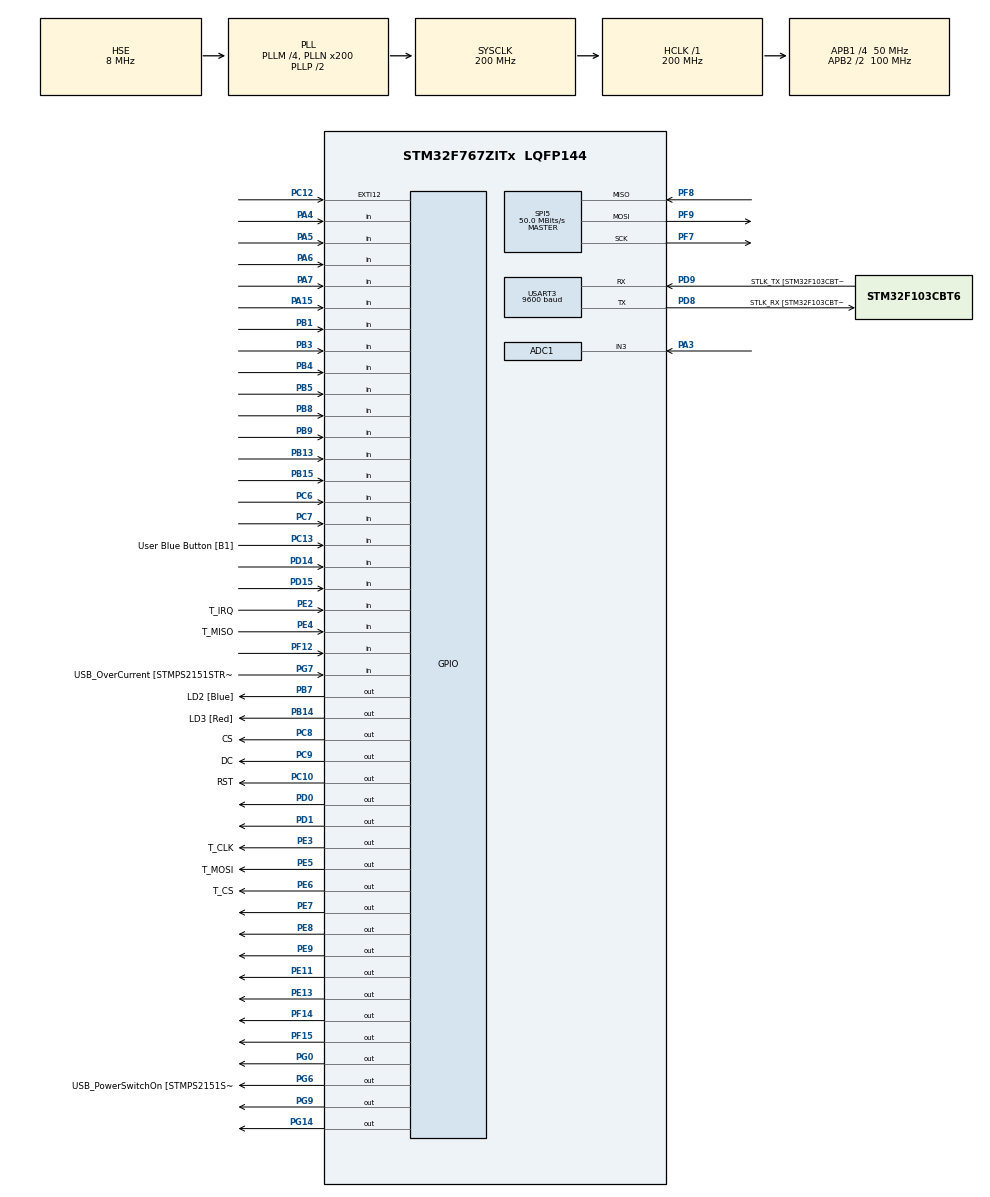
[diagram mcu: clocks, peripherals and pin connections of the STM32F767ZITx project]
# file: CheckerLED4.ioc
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ADC1.Channel-0\#ChannelRegularConversion=ADC_CHANNEL_3
ADC1.NbrOfConversionFlag=1
ADC1.Rank-0\#ChannelRegularConversion=1
ADC1.SamplingTime-0\#ChannelRegularConversion=ADC_SAMPLETIME_3CYCLES
ADC1.master=1
CORTEX_M7.ART_ACCLERATOR_ENABLE=1
CORTEX_M7.CPU_DCache=Enabled
CORTEX_M7.CPU_ICache=Enabled
CORTEX_M7.PREFETCH_ENABLE=1
Mcu.Family=STM32F7
Mcu.Name=STM32F767ZITx
Mcu.Package=LQFP144
NVIC.EXTI15_10_IRQn=true\:3\:0\:true\:false\:true\:true\:true
NVIC.PriorityGroup=NVIC_PRIORITYGROUP_2
NVIC.TIM1_UP_TIM10_IRQn=true\:1\:0\:true\:false\:true\:true\:true
NVIC.TIM3_IRQn=true\:2\:0\:true\:false\:true\:true\:true
PA1.GPIO_Label=RMII_REF_CLK [LAN8742A-CZ-TR_REFCLK0]
PA1.Signal=ETH_REF_CLK
PA13.GPIO_Label=TMS
PA13.Mode=Serial_Wire
PA13.Signal=SYS_JTMS-SWDIO
PA14.GPIO_Label=TCK
PA14.Mode=Serial_Wire
PA14.Signal=SYS_JTCK-SWCLK
PA15.GPIO_PuPd=GPIO_PULLDOWN
PA15.Signal=GPIO_Input
PA2.GPIO_Label=RMII_MDIO [LAN8742A-CZ-TR_MDIO]
PA2.Signal=ETH_MDIO
PA3.Signal=ADCx_IN3
PA4.GPIO_PuPd=GPIO_PULLDOWN
PA4.Signal=GPIO_Input
PA5.GPIO_PuPd=GPIO_PULLDOWN
PA5.Signal=GPIO_Input
PA6.GPIO_PuPd=GPIO_PULLDOWN
PA6.Signal=GPIO_Input
PA7.GPIO_PuPd=GPIO_PULLDOWN
PA7.Signal=GPIO_Input
PB1.GPIO_PuPd=GPIO_PULLDOWN
PB1.Signal=GPIO_Input
PB13.GPIO_PuPd=GPIO_PULLDOWN
PB13.Signal=GPIO_Input
PB14.GPIO_Label=LD3 [Red]
PB14.Signal=GPIO_Output
PB15.GPIO_PuPd=GPIO_PULLDOWN
PB15.Signal=GPIO_Input
PB3.GPIO_PuPd=GPIO_PULLDOWN
PB3.Signal=GPIO_Input
PB4.GPIO_PuPd=GPIO_PULLDOWN
PB4.Signal=GPIO_Input
PB5.GPIO_PuPd=GPIO_PULLDOWN
PB5.Signal=GPIO_Input
PB7.GPIO_Label=LD2 [Blue]
PB7.Signal=GPIO_Output
PB8.GPIO_PuPd=GPIO_PULLDOWN
PB8.Signal=GPIO_Input
PB9.GPIO_PuPd=GPIO_PULLDOWN
PB9.Signal=GPIO_Input
PC1.GPIO_Label=RMII_MDC [LAN8742A-CZ-TR_MDC]
PC1.Signal=ETH_MDC
PC10.GPIO_Label=RST
PC10.GPIO_Speed=GPIO_SPEED_FREQ_VERY_HIGH
PC10.Signal=GPIO_Output
PC12.Signal=GPXTI12
PC13.GPIO_Label=User Blue Button [B1]
PC13.Signal=GPIO_Input
PC14/OSC32_IN.Mode=LSE-External-Oscillator
PC14/OSC32_IN.Signal=RCC_OSC32_IN
PC15/OSC32_OUT.Mode=LSE-External-Oscillator
PC15/OSC32_OUT.Signal=RCC_OSC32_OUT
PC4.GPIO_Label=RMII_RXD0 [LAN8742A-CZ-TR_RXD0]
PC4.Signal=ETH_RXD0
PC5.GPIO_Label=RMII_RXD1 [LAN8742A-CZ-TR_RXD1]
PC5.Signal=ETH_RXD1
PC6.GPIO_PuPd=GPIO_PULLDOWN
PC6.Signal=GPIO_Input
PC7.GPIO_PuPd=GPIO_PULLDOWN
PC7.Signal=GPIO_Input
PC8.GPIO_Label=CS
PC8.GPIO_Speed=GPIO_SPEED_FREQ_VERY_HIGH
PC8.Signal=GPIO_Output
PC9.GPIO_Label=DC
PC9.GPIO_Speed=GPIO_SPEED_FREQ_VERY_HIGH
PC9.Signal=GPIO_Output
PD0.Signal=GPIO_Output
PD1.Signal=GPIO_Output
PD14.GPIO_PuPd=GPIO_PULLDOWN
PD14.Signal=GPIO_Input
PD15.GPIO_PuPd=GPIO_PULLDOWN
PD15.Signal=GPIO_Input
PD8.GPIO_Label=STLK_RX [STM32F103CBT6_PA3]
PD8.Mode=Asynchronous
PD8.Signal=USART3_TX
PD9.GPIO_Label=STLK_TX [STM32F103CBT6_PA2]
PD9.Mode=Asynchronous
PD9.Signal=USART3_RX
PE10.GPIO_Speed=GPIO_SPEED_FREQ_VERY_HIGH
PE10.Signal=TIM1_CH2N
PE11.Signal=GPIO_Output
PE13.Signal=GPIO_Output
PE2.GPIO_Label=T_IRQ
PE2.Signal=GPIO_Input
PE3.GPIO_Label=T_CLK
PE3.GPIO_Speed=GPIO_SPEED_FREQ_VERY_HIGH
PE3.Signal=GPIO_Output
PE4.GPIO_Label=T_MISO
PE4.Signal=GPIO_Input
PE5.GPIO_Label=T_MOSI
PE5.GPIO_Speed=GPIO_SPEED_FREQ_VERY_HIGH
PE5.Signal=GPIO_Output
PE6.GPIO_Label=T_CS
PE6.GPIO_Speed=GPIO_SPEED_FREQ_VERY_HIGH
PE6.Signal=GPIO_Output
PE7.Signal=GPIO_Output
PE8.Signal=GPIO_Output
PE9.Signal=GPIO_Output
PF12.GPIO_PuPd=GPIO_PULLDOWN
PF12.Signal=GPIO_Input
PF14.Signal=GPIO_Output
PF15.Signal=GPIO_Output
PF7.Mode=Full_Duplex_Master
PF7.Signal=SPI5_SCK
PF8.Mode=Full_Duplex_Master
PF8.Signal=SPI5_MISO
PF9.Mode=Full_Duplex_Master
PF9.Signal=SPI5_MOSI
PG0.Signal=GPIO_Output
PG11.GPIO_Label=RMII_TX_EN [LAN8742A-CZ-TR_TXEN]
PG11.Signal=ETH_TX_EN
PG13.GPIO_Label=RMII_TXD0 [LAN8742A-CZ-TR_TXD0]
PG13.Signal=ETH_TXD0
PG14.Signal=GPIO_Output
PG6.GPIO_Label=USB_PowerSwitchOn [STMPS2151STR_EN]
PG6.Signal=GPIO_Output
PG7.GPIO_Label=USB_OverCurrent [STMPS2151STR_FAULT]
PG7.Signal=GPIO_Input
PG9.Signal=GPIO_Output
PH0/OSC_IN.GPIO_Label=MCO [STM32F103CBT6_PA8]
PH0/OSC_IN.Mode=HSE-External-Clock-Source
PH0/OSC_IN.Signal=RCC_OSC_IN
PH1/OSC_OUT.Mode=HSE-External-Clock-Source
PH1/OSC_OUT.Signal=RCC_OSC_OUT
ProjectManager.HeapSize=0x200
ProjectManager.StackSize=0x400
ProjectManager.TargetToolchain=MDK-ARM V5
RCC.48MHZClocksFreq_Value=24000000
RCC.AHBFreq_Value=200000000
RCC.APB1CLKDivider=RCC_HCLK_DIV4
RCC.APB1Freq_Value=50000000
RCC.APB1TimFreq_Value=100000000
RCC.APB2CLKDivider=RCC_HCLK_DIV2
RCC.APB2Freq_Value=100000000
RCC.APB2TimFreq_Value=200000000
RCC.CortexFreq_Value=200000000
RCC.HCLKFreq_Value=200000000
RCC.HSE_VALUE=8000000
RCC.HSI_VALUE=16000000
RCC.PLLM=4
RCC.PLLMUL=RCC_PLL_MUL9
RCC.PLLN=200
RCC.PLLQ=9
RCC.PLLSourceVirtual=RCC_PLLSOURCE_HSE
RCC.PRESCALERUSB=RCC_USBCLKSOURCE_PLL_DIV1_5
RCC.SYSCLKFreq_VALUE=200000000
RCC.SYSCLKSource=RCC_SYSCLKSOURCE_PLLCLK
RCC.SYSCLKSourceVirtual=RCC_SYSCLKSOURCE_PLLCLK
RCC.USBFreq_Value=44444444.44444445
RCC.VCOOutputFreq_Value=400000000
SH.ADCx_IN3.0=ADC1_IN3,IN3
SPI5.CalculateBaudRate=50.0 MBits/s
SPI5.DataSize=SPI_DATASIZE_8BIT
SPI5.Direction=SPI_DIRECTION_2LINES
SPI5.Mode=SPI_MODE_MASTER
SPI5.NSSPMode=SPI_NSS_PULSE_DISABLE
SPI5.VirtualType=VM_MASTER
TIM1.ClockDivision=TIM_CLOCKDIVISION_DIV2
TIM1.Period=1000-1
TIM1.Prescaler=200-1
TIM3.Period=1000-1
TIM3.Prescaler=100-1
USART3.BaudRate=9600
USART3.VirtualMode-Asynchronous=VM_ASYNC
VP_RNG_VS_RNG.Mode=RNG_Activate
VP_TIM1_VS_ClockSourceINT.Mode=Internal
VP_TIM3_VS_ClockSourceINT.Mode=Internal
board=custom

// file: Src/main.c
/* USER CODE BEGIN Header */
/**
  ******************************************************************************
  * @file           : main.c
  * @brief          : Main program body
  ******************************************************************************
  * @attention
  *
  * <h2><center>&copy; Copyright (c) 2019 STMicroelectronics.
  * All rights reserved.</center></h2>
  *
  * This software component is licensed by ST under BSD 3-Clause license,
  * the "License"; You may not use this file except in compliance with the
  * License. You may obtain a copy of the License at:
  *                        opensource.org/licenses/BSD-3-Clause
  *
  ******************************************************************************
  */
/* USER CODE END Header */

#include "main.h"
#include "adc.h"
#include "rng.h"
#include "spi.h"
#include "tim.h"
#include "usart.h"
#include "gpio.h"

/* USER CODE BEGIN Includes */
#include "ILI9341_Touchscreen.h"
#include "ILI9341_STM32_Driver.h"
#include "ILI9341_GFX.h"

#include "CheckersGame.h"
#include "setupImage.h"
#include "setupComplete.h"
#include "gameStart.h"
#include "gameOver.h"
#include "Ready.h"
#include "Turn1.h"
#include "Turn2.h"
#include "player1Win.h"
#include "player2Win.h"

#include "stdio.h"
#include "string.h"
/* USER CODE END Includes */

/* USER CODE BEGIN PV */
/* Private variables ---------------------------------------------------------*/
uint32_t count;
uint32_t count2;
uint32_t count3;
uint32_t input;
uint32_t output;
uint32_t Clear = 0x80000000;
uint32_t canMove = 0x80000000;
uint32_t canMovetoEat = 0x80000000;

uint32_t errorInput;

int setBoard[18];
int Board[18]=
{
	1,1,1,
	1,1,1,
	0,0,0,
	0,0,0,
	3,3,3,
	3,3,3
};
int lift;
int turn = 0;
int end = 0;
char getMove;

int canEat[4] = {0,0,0,0};
int Eaten[4] = {-1,-1,-1,-1};
int time;
int move;
int to;

/* USER CODE END PV */

void SystemClock_Config(void);
/* USER CODE BEGIN PFP */
/* Private function prototypes -----------------------------------------------*/
//void resetGame(uint16_t);
void setLED(int, int);
int cUp_Right(int);
int cUp_Left(int);
int cDown_Right(int);
int cDown_Left(int);
void checkCanMove(int);

void LCD(void);
void delay(int);
int readInput(int);
char InputH(uint32_t);
/* USER CODE END PFP */

int main(void)
{

  /* Enable I-Cache---------------------------------------------------------*/
  SCB_EnableICache();

  /* Enable D-Cache---------------------------------------------------------*/
  SCB_EnableDCache();

  /* MCU Configuration--------------------------------------------------------*/

  /* Reset of all peripherals, Initializes the Flash interface and the Systick. */
  HAL_Init();

  /* Configure the system clock */
  SystemClock_Config();

  /* Initialize all configured peripherals */
  MX_GPIO_Init();
  MX_ADC1_Init();
  MX_RNG_Init();
  MX_SPI5_Init();
  MX_TIM1_Init();
  MX_TIM3_Init();
  MX_USART3_UART_Init();
  /* USER CODE BEGIN 2 */
	char str[50];
	/*sprintf(str," ----- Checker Board LED -----\n\r");
	HAL_UART_Transmit(&huart3, (uint8_t*)str, strlen(str), 1000);*/

	output = Clear + 0x03F03F;
//	input = Clear + 0x000000;
	canMove = Clear;
  canMovetoEat = Clear;

	int cMove = 1;
	move = -1;
  to = -1;

	ILI9341_Init();//initial driver setup to drive ili9341

	HAL_ADC_Start(&hadc1);

	HAL_TIM_Base_Start_IT(&htim1);
	HAL_TIM_Base_Start_IT(&htim3);

	uint32_t bInput = input;
	//For LCD
	HAL_GPIO_WritePin(GPIOG,GPIO_PIN_0,GPIO_PIN_RESET);
	HAL_GPIO_WritePin(GPIOD,GPIO_PIN_0,GPIO_PIN_SET);
	HAL_GPIO_WritePin(GPIOD,GPIO_PIN_1,GPIO_PIN_SET);
  /* USER CODE END 2 */

  /* Infinite loop */
  /* USER CODE BEGIN WHILE */
  while (1)
  {
	/*sprintf(str,"Board\n\r"); //For Test
		for(int i=17;i>0;i-=6)
		{
			sprintf(str, "%s%d 0 %d 0 %d 0\n\r", str, readInput(i),readInput(i-1),readInput(i-2));
			sprintf(str, "%s0 %d 0 %d 0 %d\n\r", str, readInput(i-3),readInput(i-4),readInput(i-5));
		}
		HAL_UART_Transmit(&huart3, (uint8_t*)str, strlen(str), 1000);
		HAL_Delay(500);*/

		if(end>0){}
		else if(count2<5000)
		{
			if(count2>4900) output = Clear + 0x03F03F;
		}
		else if(output == Clear + 0x03F03F)
		{
				while(input!=output)
				{
					if(count2%500==0)
					{
						char str2[50] = "";
						char str3[50] = "";
						uint32_t a=input;
						/*while(a>0)
						{
							sprintf(str2,"%s%c", str2, InputH(a%16));
							a=a/16;
						}
						for(int i=strlen(str2)-1; i>=0;i--){sprintf(str3,"%s%c", str3, str2[i]);}
						sprintf(str3,"%s\n\r", str3);
						HAL_UART_Transmit(&huart3, (uint8_t*)str3, strlen(str3), 1000);*/

						if(HAL_GPIO_ReadPin(GPIOC,GPIO_PIN_12))
							break;
					}
				}
			cMove = 1;
			bInput = input;
			output = Clear;
			for(int i=0; i<18;i++){setBoard[i]=Board[i];}

			/*sprintf(str,"Board\n\r");
				for(int i=17;i>0;i-=6)
				{
					sprintf(str, "%s%d 0 %d 0 %d 0\n\r", str, setBoard[i],setBoard[i-1],setBoard[i-2]);
					sprintf(str, "%s0 %d 0 %d 0 %d\n\r", str, setBoard[i-3],setBoard[i-4],setBoard[i-5]);
				}
				HAL_UART_Transmit(&huart3, (uint8_t*)str, strlen(str), 1000);*/
			output = Clear + 0x000038;

		}
		else if(bInput != input)
		{

			/* USER CODE END WHILE */

			/* USER CODE BEGIN 3 */
			/*if(cMove)
				sprintf(str,"move : ");
			else
				sprintf(str,"move %d to : ", move);

			HAL_UART_Transmit(&huart3, (uint8_t*)str, strlen(str), 1000);*/

			int numInput=0;
			while(1)
			{
				if((bInput&(0x01<<numInput))!=(input&(0x01<<numInput)))
				{
					if(cMove)
					{
						if(!(input&(0x01<<numInput)))
						{
							if((output&(0x01<<numInput)))
							{
								move = numInput;
								break;
							}
							else
							{
								errorInput = output;
								while(1)
								{
									if(count2%200)
									{
										output = Clear;
										if(input != bInput)
										{
											for(int i=0;i<18;i++)
											{
												if((bInput&(0x01<<i))!=(input&(0x01<<i)))
													output = output + (0x01<<i);
											}
										}
										else
										{
											break;
										}
										if(HAL_GPIO_ReadPin(GPIOC,GPIO_PIN_12))
												break;
									}
									//HAL_Delay(200);
								}
								output = errorInput;
								numInput=0;
							}
						}
						else
						{
							//error
							errorInput = output;
							while(1)
							{
								if(count2%200)
								{
									output = Clear;
									if(input != bInput)
									{
										for(int i=0;i<18;i++)
										{
											if((bInput&(0x01<<i))!=(input&(0x01<<i)))
												output = output + (0x01<<i);
										}
									}
									else
									{
										break;
									}
									if(HAL_GPIO_ReadPin(GPIOC,GPIO_PIN_12))
											break;
								}
								//HAL_Delay(200);
							}
							output = errorInput;
							numInput=0;
						}
					}
					else
					{
						if((input&(0x01<<numInput)))
						{
							if((output&(0x01<<numInput)))
							{
								to = numInput;
								break;
							}
							else
							{
								errorInput = output;
								while(1)
								{
									if(count2%200==0){
										output = Clear;
										if(input != bInput)
										{
											for(int i=0;i<18;i++)
											{
												if((bInput&(0x01<<i))!=(input&(0x01<<i)))
													output = output + (0x01<<i);
											}
										}
										else
										{
											break;
										}
										if(HAL_GPIO_ReadPin(GPIOC,GPIO_PIN_12))
												break;
									}
									//HAL_Delay(200);
								}
								output = errorInput;
								numInput=0;
							}
						}
						else
						{
							//moving error
							errorInput = output;
							while(1)
							{
								if(count2%200)
								{
									output = Clear;
									if(input != bInput)
									{
										for(int i=0;i<18;i++)
										{
											if((bInput&(0x01<<i))!=(input&(0x01<<i)))
												output = output + (0x01<<i);
										}
									}
									else
									{
										break;
									}
									if(HAL_GPIO_ReadPin(GPIOC,GPIO_PIN_12))
											break;
								}
								//HAL_Delay(200);
							}
							output = errorInput;
							numInput=0;
						}
					}
				}
				numInput++;
				if(numInput>17) numInput=0;
				if(HAL_GPIO_ReadPin(GPIOC,GPIO_PIN_12)) break;
			}

			char str2[50] = "";
			char str3[50] = "";
			uint32_t a=input;
			while(a>0)
			{
				sprintf(str2,"%s%c", str2, InputH(a%16));
				a=a/16;
			}
			for(int i=strlen(str2)-1; i>=0;i--){sprintf(str3,"%s%c", str3, str2[i]);}

			/*if(cMove)
			{
				sprintf(str,"(%d)\n\rInput: %s\n\r", move, str3);
			}
			else
			{
				sprintf(str,"(%d)\n\rInput: %s\n\r", to, str3);
			}
			HAL_UART_Transmit(&huart3, (uint8_t*)str, strlen(str), 1000);*/

			if(cMove)//lift pawn/checker
			{
				lift = setBoard[move];
				for(int i=0;i<4;i++) canEat[i] = 0;
				for(int i=0;i<4;i++) Eaten[i] = -1;

				if((output>>move)&0x01)
				{
					if(lift == 1 && turn == 0)
					{
						output = Clear;
						output = output + (0x01<<move);
						cDown_Right(move);
						cDown_Left(move);
						if(canEat[0]>0 || canEat[1]>0 || canEat[2]>0 || canEat[3]>0)
						{
							output = Clear;
							output = output + (0x01<<move);
							if(canEat[0]>0) cUp_Right(canEat[0]);
							if(canEat[1]>0) cUp_Left(canEat[1]);
							if(canEat[2]>0) cDown_Right(canEat[2]);
							if(canEat[3]>0) cDown_Left(canEat[3]);
						}
						setBoard[move] = 0;
						cMove = 0;
					}
					else if(lift == 3 && turn == 1)
					{
						output = Clear;
						output = output + (0x01<<move);
						cUp_Right(move);
						cUp_Left(move);
						if(canEat[0]>0 || canEat[1]>0 || canEat[2]>0 || canEat[3]>0)
						{
							output = Clear;
							output = output + (0x01<<move);
							if(canEat[0]>0) cUp_Right(canEat[0]);
							if(canEat[1]>0) cUp_Left(canEat[1]);
							if(canEat[2]>0) cDown_Right(canEat[2]);
							if(canEat[3]>0) cDown_Left(canEat[3]);
						}
						setBoard[move] = 0;
						cMove = 0;
					}
					else if(lift == 2 && turn == 0)
					{
						output = Clear;
						output = output + (0x01<<move);
						for(int i=move; i!=100; i=cUp_Right(i));
						for(int i=move; i!=100; i=cUp_Left(i));
						for(int i=move; i!=100; i=cDown_Right(i));
						for(int i=move; i!=100; i=cDown_Left(i));
						if(canEat[0]>0 || canEat[1]>0 || canEat[2]>0 || canEat[3]>0)
						{
							output = Clear;
							output = output + (0x01<<move);
							if(canEat[0]>0) cUp_Right(canEat[0]);
							if(canEat[1]>0) cUp_Left(canEat[1]);
							if(canEat[2]>0) cDown_Right(canEat[2]);
							if(canEat[3]>0) cDown_Left(canEat[3]);
						}
						setBoard[move] = 0;
						cMove = 0;
					}
					else if(lift == 4 && turn == 1)
					{
						output = Clear;
						output = output + (0x01<<move);
						for(int i=move; i!=100; i=cUp_Right(i));
						for(int i=move; i!=100; i=cUp_Left(i));
						for(int i=move; i!=100; i=cDown_Right(i));
						for(int i=move; i!=100; i=cDown_Left(i));
						if(canEat[0]>0 || canEat[1]>0 || canEat[2]>0 || canEat[3]>0)
						{
							output = Clear;
							output = output + (0x01<<move);
							if(canEat[0]>0) cUp_Right(canEat[0]);
							if(canEat[1]>0) cUp_Left(canEat[1]);
							if(canEat[2]>0) cDown_Right(canEat[2]);
							if(canEat[3]>0) cDown_Left(canEat[3]);
						}
						setBoard[move] = 0;
						cMove = 0;
					}
				}
			}
			else//place pawn/checker
			{
				if((output>>to)&0x01)
				{
					int nextTurn=1;
					setBoard[to] = lift;
					canMove = Clear;
					canMovetoEat = Clear;
					if(to != move)
					{
						for(int i=0;i<4;i++)
						{
							if(to == Eaten[i])
							{
								setBoard[canEat[i]]=0;
								bInput = bInput - (0x01<<canEat[i]) + (0x01<<Eaten[i]);
								while(1)//REMOVE Eaten
								{
									if(count%200==0)
									{
										output = Clear;
										if(bInput != input)
										{
											for(int j=0;j<18;j++)
											{
												if((bInput&(0x01<<j))!=(input&(0x01<<j)))
													output = output + (0x01<<j);
												if(HAL_GPIO_ReadPin(GPIOC,GPIO_PIN_12))
													break;
											}
										}
										else
											break;
									}
									//HAL_Delay(200);
								}
								for(int j=0;j<4;j++) Eaten[j] = -1;
								checkCanMove(to);
								for(int j=0;j<4;j++) if(Eaten[j]+1>0) nextTurn=0;
							}
						}
						if(to<3&&lift==3)
						{
							setBoard[to]=4;
							nextTurn=1;
						}
						else if(to>14&&lift==1)
						{
							setBoard[to]=2;
							nextTurn=1;
						}

						if(nextTurn)
						{
							if(turn) turn = 0;
							else turn = 1;
						}
					}

					canMove = Clear;
					/* check pawn or checker which can move */
					canMovetoEat = Clear;
					for(int i=0;i<18;i++)
					{
						checkCanMove(i);
					}

					if(canMovetoEat>Clear)
						output = canMovetoEat;
					else
						output = canMove;
					cMove = 1;
				}
			}
			/*sprintf(str,"Board\n\r");
			for(int i=17;i>0;i-=6)
			{
				sprintf(str, "%s%d 0 %d 0 %d 0\n\r", str, setBoard[i],setBoard[i-1],setBoard[i-2]);
				sprintf(str, "%s0 %d 0 %d 0 %d\n\r", str, setBoard[i-3],setBoard[i-4],setBoard[i-5]);
			}
			HAL_UART_Transmit(&huart3, (uint8_t*)str, strlen(str), 1000);*/

			int has1 = 0;
			int has2 = 0;
			for(int i=0;i<18;i++)
			{
				if(setBoard[i]==1||setBoard[i]==2||lift==1||lift==2) has1=1;
				if(setBoard[i]==3||setBoard[i]==4||lift==3||lift==4) has2=1;
			}
			if(!has1 || !has2)
			{
				if(has1) end = 1;
				else if(has2) end = 2;
			}
			bInput = input;
		}
		else
		{
			if(output==Clear)
				end = 3;
		}
	}
  /* USER CODE END 3 */
}

void SystemClock_Config(void)
{
  RCC_OscInitTypeDef RCC_OscInitStruct = {0};
  RCC_ClkInitTypeDef RCC_ClkInitStruct = {0};
  RCC_PeriphCLKInitTypeDef PeriphClkInitStruct = {0};

  /** Configure LSE Drive Capability
  */
  HAL_PWR_EnableBkUpAccess();
  /** Configure the main internal regulator output voltage
  */
  __HAL_RCC_PWR_CLK_ENABLE();
  __HAL_PWR_VOLTAGESCALING_CONFIG(PWR_REGULATOR_VOLTAGE_SCALE1);
  /** Initializes the CPU, AHB and APB busses clocks
  */
  RCC_OscInitStruct.OscillatorType = RCC_OSCILLATORTYPE_HSE;
  RCC_OscInitStruct.HSEState = RCC_HSE_BYPASS;
  RCC_OscInitStruct.PLL.PLLState = RCC_PLL_ON;
  RCC_OscInitStruct.PLL.PLLSource = RCC_PLLSOURCE_HSE;
  RCC_OscInitStruct.PLL.PLLM = 4;
  RCC_OscInitStruct.PLL.PLLN = 200;
  RCC_OscInitStruct.PLL.PLLP = RCC_PLLP_DIV2;
  RCC_OscInitStruct.PLL.PLLQ = 9;
  if (HAL_RCC_OscConfig(&RCC_OscInitStruct) != HAL_OK)
  {
    Error_Handler();
  }
  /** Activate the Over-Drive mode
  */
  if (HAL_PWREx_EnableOverDrive() != HAL_OK)
  {
    Error_Handler();
  }
  /** Initializes the CPU, AHB and APB busses clocks
  */
  RCC_ClkInitStruct.ClockType = RCC_CLOCKTYPE_HCLK|RCC_CLOCKTYPE_SYSCLK
                              |RCC_CLOCKTYPE_PCLK1|RCC_CLOCKTYPE_PCLK2;
  RCC_ClkInitStruct.SYSCLKSource = RCC_SYSCLKSOURCE_PLLCLK;
  RCC_ClkInitStruct.AHBCLKDivider = RCC_SYSCLK_DIV1;
  RCC_ClkInitStruct.APB1CLKDivider = RCC_HCLK_DIV4;
  RCC_ClkInitStruct.APB2CLKDivider = RCC_HCLK_DIV2;

  if (HAL_RCC_ClockConfig(&RCC_ClkInitStruct, FLASH_LATENCY_6) != HAL_OK)
  {
    Error_Handler();
  }
  PeriphClkInitStruct.PeriphClockSelection = RCC_PERIPHCLK_USART3|RCC_PERIPHCLK_CLK48;
  PeriphClkInitStruct.Usart3ClockSelection = RCC_USART3CLKSOURCE_PCLK1;
  PeriphClkInitStruct.Clk48ClockSelection = RCC_CLK48SOURCE_PLL;
  if (HAL_RCCEx_PeriphCLKConfig(&PeriphClkInitStruct) != HAL_OK)
  {
    Error_Handler();
  }
}

/* USER CODE BEGIN 4 */
int cUp_Right(int move)
{
	if(move>2)
	{
		if((move/3)%2)
		{
			if(!(((move-2)/3)%2))
			{
				if(setBoard[move-2]==0)
				{
					output = output + (0x01<<(move-2));
					return move-2;
				}
				else
				{
					if((setBoard[move-2]<3 && lift > 2) || (setBoard[move-2]>2 && lift == 2))
					{
						if(setBoard[move-2-3]==0 && (((move-2-3)/3)%2) && move-2-3>=0)
						{
							canEat[0] = move-2;
							Eaten[0] = move-2-3;
							output = output + (0x01<<(move-2-3));
							return 99;
						}
					}
				}
			}
		}
		else
		{
			if(setBoard[move-3]==0)
			{
				output = output + (0x01<<(move-3));
				return move-3;
			}
			else
			{
				if((setBoard[move-3]<3 && lift > 2) || (setBoard[move-3]>2 && lift == 2))
				{
					if(setBoard[move-3-2]==0 && !(((move-3-2)/3)%2) && move-3-2>=0)
					{
						canEat[0] = move-3;
						Eaten[0] = move-3-2;
						output = output + (0x01<<(move-3-2));
						return 99;
					}
				}
			}
		}
	}
	return 100;
}

int cUp_Left(int move)
{
	if(move>2)
	{
		if((move/3)%2)
		{
			if(setBoard[move-3]==0)
			{
				output = output + (0x01<<(move-3));
				return move-3;
			}
			else
			{
				if((setBoard[move-3]<3 && lift > 2) || (setBoard[move-3]>2 && lift == 2))
				{
					if(setBoard[move-3-4]==0 && (((move-3-4)/3)%2) && move-3-4>=0)
					{
						canEat[1] = move-3;
						Eaten[1] = move-3-4;
						output = output + (0x01<<(move-3-4));
						return 99;
					}
				}
			}
		}
		else
		{
			if(((move-4)/3)%2)
			{
				if(setBoard[move-4]==0)
				{
					output = output + (0x01<<(move-4));
					return move-4;
				}
				else
				{
					if((setBoard[move-4]<3 && lift > 2) || (setBoard[move-4]>2 && lift == 2))
					{
						if(setBoard[move-4-3]==0 && !(((move-4-3)/3)%2) && move-4-3>=0)
						{
							canEat[1] = move-4;
							Eaten[1] = move-4-3;
							output = output + (0x01<<(move-4-3));
							return 99;
						}
					}
				}
			}
		}
	}
	return 100;
}

int cDown_Right(int move)
{
	if(move<15)
	{
		if((move/3)%2)
		{
			if(!(((move+4)/3)%2))
			{
				if(setBoard[move+4]==0)
				{
					output = output + (0x01<<(move+4));
					return move+4;
				}
				else
				{
					if((setBoard[move+4]>2 && lift < 3) || (setBoard[move+4]<3 && lift == 4))
					{
						if(setBoard[move+4+3]==0 && (((move+4+3)/3)%2) && move+4+3<18)
						{
							canEat[2] = move+4;
							Eaten[2] = move+4+3;
							output = output + (0x01<<(move+4+3));
							return 99;
						}
					}
				}
			}
		}
		else
		{
			if(setBoard[move+3]==0)
			{
				output = output + (0x01<<(move+3));
				return move+3;
			}
			else
			{
				if((setBoard[move+3]>2 && lift < 3) || (setBoard[move+3]<3 && lift == 4))
				{
					if(setBoard[move+3+4]==0 && !(((move+3+4)/3)%2) && move+3+4<18)
					{
						canEat[2] = move+3;
						Eaten[2] = move+3+4;
						output = output + (0x01<<(move+3+4));
						return 99;
					}
				}
			}
		}
	}
	return 100;
}

int cDown_Left(int move)
{
	if(move<15)
	{
		if((move/3)%2)
		{
			if(setBoard[move+3]==0)
			{
				output = output + (0x01<<(move+3));
				return move+3;
			}
			else
			{
				if((setBoard[move+3]>2 && lift < 3) || (setBoard[move+3]<3 && lift == 4))
				{
					if(setBoard[move+3+2]==0 && (((move+3+2)/3)%2) && move+3+2<18)
					{
						canEat[3] = move+3;
						Eaten[3] = move+3+2;
						output = output + (0x01<<(move+3+2));
						return 99;
					}
				}
			}
		}
		else
		{
			if(((move+2)/3)%2)
			{
				if(setBoard[move+2]==0)
				{
					output = output + (0x01<<(move+2));
					return move+2;
				}
				else
				{
					if((setBoard[move+2]>2 && lift < 3) || (setBoard[move+2]<3 && lift == 4))
					{
						if(setBoard[move+2+3]==0 && !(((move+2+3)/3)%2) && move+2+3<18)
						{
							canEat[3] = move+2;
							Eaten[3] = move+2+3;
							output = output + (0x01<<(move+2+3));
							return 99;
						}
					}
				}
			}
		}
	}
	return 100;
}

void checkCanMove(int i)
{
	lift = setBoard[i];
	if(lift==1 && turn == 0)
	{
		if(cDown_Right(i)!=100||cDown_Left(i)!=100)
			canMove += 0x01<<i;
		if(cDown_Right(i)==99||cDown_Left(i)==99)
			canMovetoEat |= 0x01<<i;
	}
	else if(lift==3 && turn == 1)
	{
		if(cUp_Right(i)!=100||cUp_Left(i)!=100)
			canMove += 0x01<<i;
		if(cUp_Right(i)==99||cUp_Left(i)==99)
			canMovetoEat |= 0x01<<i;
	}
	else if(lift==2 && turn == 0)
	{
		if(cDown_Right(i)||cDown_Left(i)||cUp_Right(i)||cUp_Left(i))
			canMove += 0x01<<i;
			for(int j=i; j!=100; j=cUp_Right(j)) if(j==99) canMovetoEat |= 0x01<<i;
			for(int j=i; j!=100; j=cUp_Left(j)) if(j==99) canMovetoEat |= 0x01<<i;
			for(int j=i; j!=100; j=cDown_Right(j)) if(j==99) canMovetoEat |= 0x01<<i;
			for(int j=i; j!=100; j=cDown_Left(j)) if(j==99) canMovetoEat |= 0x01<<i;
	}
	else if(lift==4  && turn == 1)
	{
		if(cDown_Right(i)||cDown_Left(i)||cUp_Right(i)||cUp_Left(i))
			canMove += 0x01<<i;
			for(int j=i; j!=100; j=cUp_Right(j)) if(j==99) canMovetoEat |= 0x01<<i;
			for(int j=i; j!=100; j=cUp_Left(j)) if(j==99) canMovetoEat |= 0x01<<i;
			for(int j=i; j!=100; j=cDown_Right(j)) if(j==99) canMovetoEat |= 0x01<<i;
			for(int j=i; j!=100; j=cDown_Left(j)) if(j==99) canMovetoEat |= 0x01<<i;
	}
}

/* ---- LCD CONTROL ---- */
void LCD()
{
	if(count2<2000)
	{
		output = Clear + 0x0FFFFF;
		ILI9341_Draw_Image((const char*)checkersGame, SCREEN_VERTICAL_2);
		ILI9341_Set_Rotation(SCREEN_VERTICAL_1);
	}
	else if(count2 < 5000)
	{
		output = Clear + (0x07<<(((count2/100)%6)*3));
		ILI9341_Draw_Image((const char*)gameStart, SCREEN_VERTICAL_2);
		ILI9341_Set_Rotation(SCREEN_VERTICAL_1);
		if(count2>4900)
			output = Clear + 0x03F03F;
	}
	else if(output==Clear+0x03F03F)
	{
		if(input != output)
		{
			ILI9341_Draw_Image((const char*)setupImage, SCREEN_VERTICAL_2);
			ILI9341_Set_Rotation(SCREEN_VERTICAL_1);
			time = count2;
		}
	}
	else
	{
		if(count2-time < 1800)
		{
			ILI9341_Draw_Image((const char*)setupComplete, SCREEN_VERTICAL_2);
			ILI9341_Set_Rotation(SCREEN_VERTICAL_1);
		}
		else if(count2-time < 3600)
		{
			ILI9341_Draw_Image((const char*)ready, SCREEN_VERTICAL_2);
			ILI9341_Set_Rotation(SCREEN_VERTICAL_1);
		}

		else
		{
			if(end)
			{
				if(end==1)
				{
					ILI9341_Draw_Image((const char*)player1Win, SCREEN_VERTICAL_2);
					ILI9341_Set_Rotation(SCREEN_VERTICAL_1);
				}
				else if(end==2)
				{
					ILI9341_Draw_Image((const char*)player2Win, SCREEN_VERTICAL_2);
					ILI9341_Set_Rotation(SCREEN_VERTICAL_1);
				}
				else if(end==3)
				{
					ILI9341_Draw_Image((const char*)gameOver, SCREEN_VERTICAL_2);
					ILI9341_Set_Rotation(SCREEN_VERTICAL_1);
				}

			}
			else if(turn==0)
			{
				ILI9341_Draw_Image((const char*)turn1, SCREEN_VERTICAL_2);
				ILI9341_Set_Rotation(SCREEN_VERTICAL_1);
			}
			else
			{
				ILI9341_Draw_Image((const char*)turn2, SCREEN_VERTICAL_2);
				ILI9341_Set_Rotation(SCREEN_VERTICAL_1);
			}
		}

	}
}

char InputH(uint32_t inputH)
{
	switch(inputH)
	{
		case 0: return '0';
			break;
		case 1: return '1';
			break;
		case 2: return '2';
			break;
		case 3: return '3';
			break;
		case 4: return '4';
			break;
		case 5: return '5';
			break;
		case 6: return '6';
			break;
		case 7: return '7';
			break;
		case 8: return '8';
			break;
		case 9: return '9';
			break;
		case 10: return 'A';
			break;
		case 11: return 'B';
			break;
		case 12: return 'C';
			break;
		case 13: return 'D';
			break;
		case 14: return 'E';
			break;
		case 15: return 'F';
			break;
	}
}

int readInput(int nInput)
{
	switch(nInput)
	{
		case 0: return HAL_GPIO_ReadPin(GPIOB, GPIO_PIN_13);
			break;
		case 1: return HAL_GPIO_ReadPin(GPIOB, GPIO_PIN_15);
			break;
		case 2: return HAL_GPIO_ReadPin(GPIOC, GPIO_PIN_6);
			break;
		case 3: return HAL_GPIO_ReadPin(GPIOB, GPIO_PIN_5);
			break;
		case 4: return HAL_GPIO_ReadPin(GPIOC, GPIO_PIN_7);
			break;
		case 5: return HAL_GPIO_ReadPin(GPIOA, GPIO_PIN_15);
			break;
		case 6: return HAL_GPIO_ReadPin(GPIOB, GPIO_PIN_4);
			break;
		case 7: return HAL_GPIO_ReadPin(GPIOA, GPIO_PIN_4);
			break;
		case 8: return HAL_GPIO_ReadPin(GPIOB, GPIO_PIN_3);
			break;
		case 9: return HAL_GPIO_ReadPin(GPIOA, GPIO_PIN_5);
			break;
		case 10: return HAL_GPIO_ReadPin(GPIOB, GPIO_PIN_9);
			break;
		case 11: return HAL_GPIO_ReadPin(GPIOB, GPIO_PIN_8);
			break;
		case 12: return HAL_GPIO_ReadPin(GPIOD, GPIO_PIN_14);
			break;
		case 13: return HAL_GPIO_ReadPin(GPIOA, GPIO_PIN_7);
			break;
		case 14: return HAL_GPIO_ReadPin(GPIOA, GPIO_PIN_6);
			break;
		case 15: return HAL_GPIO_ReadPin(GPIOB, GPIO_PIN_1);
			break;
		case 16: return HAL_GPIO_ReadPin(GPIOF, GPIO_PIN_12);
			break;
		case 17: return HAL_GPIO_ReadPin(GPIOD, GPIO_PIN_15);
			break;
	}

}

/* ---- RESET GAME INTERRUPT ---- */
void HAL_GPIO_EXTI_Callback(uint16_t GPIO_Pin)
{
	if(GPIO_Pin == GPIO_PIN_12)
	{
		count = 0;
		count2 = 0;
		turn = 0;
		end = 0;
		output = Clear + 0x03F03F;
		for(int i=0; i<18;i++){setBoard[i]=Board[i];}
	}
}
/* USER CODE END 4 */

void Error_Handler(void)
{
  while(1)
  {
  }
}

/************************ (C) COPYRIGHT STMicroelectronics *****END OF FILE****/
